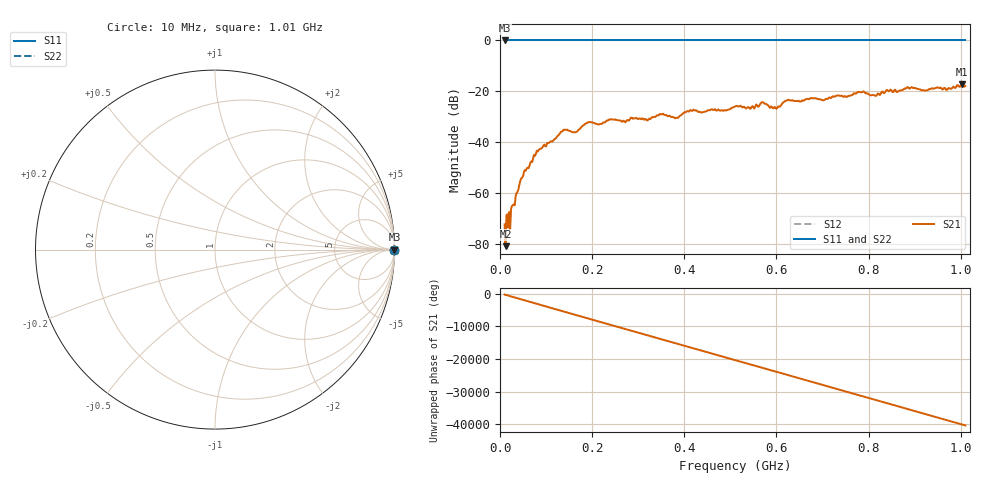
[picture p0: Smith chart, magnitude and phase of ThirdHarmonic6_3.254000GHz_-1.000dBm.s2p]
! 8/17/2025 10:01:29 AM
! C:\ANRITSUVNA\TEMP\TEMP.S2P
! CHANNEL.1
! TR.MEASUREMENT
! RAW.DATA
! RF.CORRECTION.OFF
! AVERAGING.OFF
! IF.BANDWIDTH: 5KHZ
! SWEEPTYPE:  FREQ.SWEEP(Linear)
! Reference Plane Port Info
! PORT:  PORT1  PORT2
! DISTANCE:  0  m  0  m
! TIME:  0  s  0  s
! PHASE.OFFSET:  0  deg.  0  deg.
! LOSS:  0  dB  0  dB
! REF.LOSS:  0  dB  0  dB
! REF.FREQ:  0  Hz  0  Hz
! Power Info
! POWER:  -20  dBm  -20  dBm
! EFF.POWER:  -20  dBm  -20  dBm
! SOURCE.ATTEN:  0  dB  0  dB
! TEST.ATTEN:  0  dB  0  dB
# GHZ S RI R 50.0
! FREQ.GHZ  S11RE  S11IM  S21RE  S21IM  S12RE  S12IM  S22RE  S22IM
!; PortSelection: Port_12
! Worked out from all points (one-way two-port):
!   501 points, 10 MHz to 1.01 GHz, reference 50 ohm
!   highest |S21| = -17.24 dB at 1.002 GHz (marker M1); lowest = -81.0 dB at 12 MHz (marker M2)
!   lowest |S11| = 0.0 dB at 10 MHz (marker M3)
!   |S11| at or under -10 dB: nowhere
!   |S22| runs from 0.0 to 0.0 dB; largest |S21 - S12| = 1.1
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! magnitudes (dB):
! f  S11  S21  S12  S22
! 10 MHz  0.0  -72.4  0.0  0.0
! 12 MHz  0.0  -81.0  0.0  0.0
! 22 MHz  0.0  -74.3  0.0  0.0
! 50 MHz  0.0  -53.4  0.0  0.0
! 78 MHz  0.0  -44.5  0.0  0.0
! 136 MHz  0.0  -35.7  0.0  0.0
! 164 MHz  0.0  -36.2  0.0  0.0
! 178 MHz  0.0  -33.9  0.0  0.0
! 344 MHz  0.0  -29.5  0.0  0.0
! 384 MHz  0.0  -30.5  0.0  0.0
! 416 MHz  0.0  -27.7  0.0  0.0
! 510 MHz  0.0  -26.0  0.0  0.0
! 548 MHz  0.0  -25.8  0.0  0.0
! 570 MHz  0.0  -24.3  0.0  0.0
! 596 MHz  0.0  -26.1  0.0  0.0
! 622 MHz  0.0  -23.7  0.0  0.0
! 678 MHz  0.0  -22.8  0.0  0.0
! 786 MHz  0.0  -20.3  0.0  0.0
! 814 MHz  0.0  -21.8  0.0  0.0
! 844 MHz  0.0  -20.0  0.0  0.0
! 1.002 GHz  0.0  -17.2  0.0  0.0
! 1.01 GHz  0.0  -17.9  0.0  0.0
